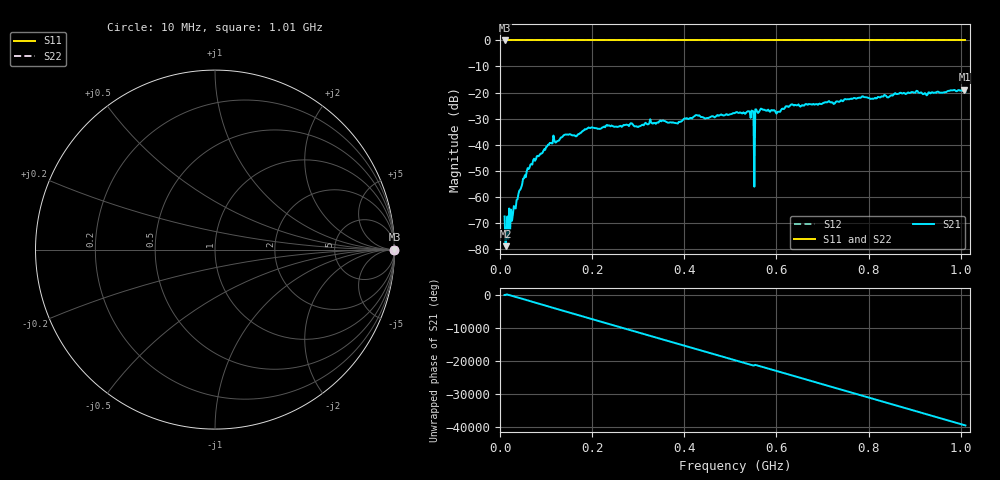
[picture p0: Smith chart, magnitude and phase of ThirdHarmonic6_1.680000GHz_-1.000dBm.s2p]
! 8/16/2025 8:09:49 PM
! C:\ANRITSUVNA\TEMP\TEMP.S2P
! CHANNEL.1
! TR.MEASUREMENT
! RAW.DATA
! RF.CORRECTION.OFF
! AVERAGING.OFF
! IF.BANDWIDTH: 5KHZ
! SWEEPTYPE:  FREQ.SWEEP(Linear)
! Reference Plane Port Info
! PORT:  PORT1  PORT2
! DISTANCE:  0  m  0  m
! TIME:  0  s  0  s
! PHASE.OFFSET:  0  deg.  0  deg.
! LOSS:  0  dB  0  dB
! REF.LOSS:  0  dB  0  dB
! REF.FREQ:  0  Hz  0  Hz
! Power Info
! POWER:  -20  dBm  -20  dBm
! EFF.POWER:  -20  dBm  -20  dBm
! SOURCE.ATTEN:  0  dB  0  dB
! TEST.ATTEN:  0  dB  0  dB
# GHZ S RI R 50.0
! FREQ.GHZ  S11RE  S11IM  S21RE  S21IM  S12RE  S12IM  S22RE  S22IM
!; PortSelection: Port_12
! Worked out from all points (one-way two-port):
!   501 points, 10 MHz to 1.01 GHz, reference 50 ohm
!   highest |S21| = -18.90 dB at 1.008 GHz (marker M1); lowest = -79.0 dB at 12 MHz (marker M2)
!   lowest |S11| = 0.0 dB at 10 MHz (marker M3)
!   |S11| at or under -10 dB: nowhere
!   |S22| runs from 0.0 to 0.0 dB; largest |S21 - S12| = 1.1
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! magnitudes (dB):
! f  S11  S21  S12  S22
! 10 MHz  0.0  -67.6  0.0  0.0
! 12 MHz  0.0  -79.0  0.0  0.0
! 16 MHz  0.0  -67.6  0.0  0.0
! 50 MHz  0.0  -53.1  0.0  0.0
! 70 MHz  0.0  -47.7  0.0  0.0
! 112 MHz  0.0  -39.6  0.0  0.0
! 178 MHz  0.0  -35.0  0.0  0.0
! 344 MHz  0.0  -31.6  0.0  0.0
! 382 MHz  0.0  -31.8  0.0  0.0
! 428 MHz  0.0  -28.7  0.0  0.0
! 448 MHz  0.0  -29.8  0.0  0.0
! 510 MHz  0.0  -27.8  0.0  0.0
! 546 MHz  0.0  -26.9  0.0  0.0
! 548 MHz  0.0  -27.1  0.0  0.0
! 556 MHz  0.0  -26.5  0.0  0.0
! 558 MHz  0.0  -27.3  0.0  0.0
! 604 MHz  0.0  -27.4  0.0  0.0
! 632 MHz  0.0  -24.6  0.0  0.0
! 678 MHz  0.0  -24.6  0.0  0.0
! 844 MHz  0.0  -21.7  0.0  0.0
! 1.008 GHz  0.0  -18.9  0.0  0.0
! 1.01 GHz  0.0  -19.7  0.0  0.0
